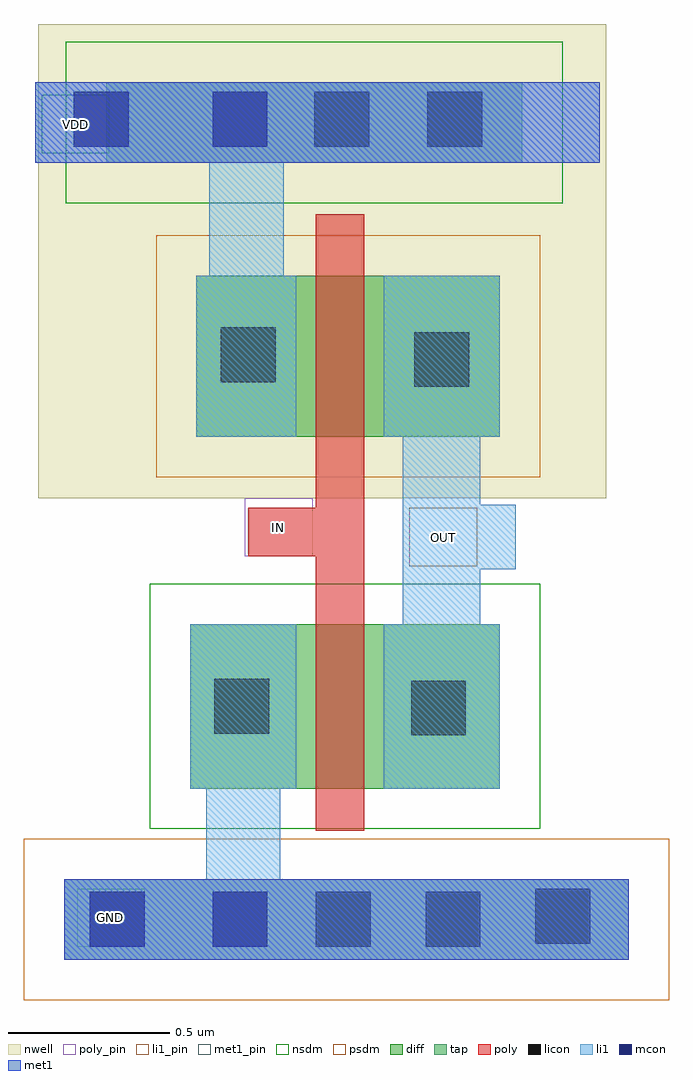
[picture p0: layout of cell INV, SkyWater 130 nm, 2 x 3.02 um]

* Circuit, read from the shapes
.subckt INV GND IN OUT VDD
XM1 OUT IN GND GND sky130_fd_pr__nfet_01v8 w=0.51 l=0.15
XM2 OUT IN VDD VDD sky130_fd_pr__pfet_01v8 w=0.5 l=0.15
.ends

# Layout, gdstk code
import gdstk
lib = gdstk.Library(unit=1e-6, precision=1e-09)
def R(c, l, rs):  # rectangles x0, y0, x1, y1
    for r in rs: c.add(gdstk.rectangle(r[:2], r[2:], *l))
nwell = (64, 20)
diff = (65, 20)
tap = (65, 44)
poly_pin = (66, 16)
poly = (66, 20)
licon = (66, 44)
li1_pin = (67, 16)
li1 = (67, 20)
mcon = (67, 44)
met1_pin = (68, 16)
met1 = (68, 20)
nsdm = (93, 44)
psdm = (94, 20)

inv = lib.new_cell('INV')
R(inv, nwell, [(-0.88,0.52,0.88,1.99)])
R(inv, diff, [(-0.41,-0.38,0.55,0.13), (-0.39,0.71,0.55,1.21)])
R(inv, tap, [(-0.8,-0.91,0.95,-0.66), (-0.67,1.56,0.62,1.81)])
R(inv, poly_pin, [(-0.24,0.34,-0.03,0.52)])
R(inv, poly, [(-0.02,-0.51,0.13,0.34), (-0.23,0.34,0.13,0.49), (-0.02,0.49,0.13,1.4)])
R(inv, licon, [(-0.02,-0.87,0.15,-0.7), (0.32,-0.87,0.49,-0.7), (0.66,-0.86,0.83,-0.69), (0.275,-0.215,0.445,-0.045), (-0.335,-0.21,-0.165,-0.04), (0.285,0.865,0.455,1.035), (-0.315,0.88,-0.145,1.05), (-0.025,1.61,0.145,1.78), (0.325,1.61,0.495,1.78)])
R(inv, li1_pin, [(0.27,0.31,0.48,0.49)])
R(inv, li1, [(-0.8,-0.91,0.95,-0.66), (-0.36,-0.66,-0.13,-0.38), (-0.41,-0.38,-0.08,0.13), (0.19,-0.38,0.55,0.13), (0.25,0.13,0.49,0.3), (0.25,0.3,0.6,0.5), (0.25,0.5,0.49,0.71), (-0.39,0.71,-0.08,1.21), (0.19,0.71,0.55,1.21), (-0.35,1.21,-0.12,1.56), (-0.89,1.56,0.86,1.81)])
R(inv, mcon, [(-0.72,-0.87,-0.55,-0.7), (-0.34,-0.87,-0.17,-0.7), (-0.77,1.61,-0.6,1.78), (-0.34,1.61,-0.17,1.78)])
R(inv, met1_pin, [(-0.76,-0.87,-0.55,-0.69), (-0.87,1.59,-0.66,1.77)])
R(inv, met1, [(-0.8,-0.91,0.95,-0.66), (-0.89,1.56,0.86,1.81)])
R(inv, nsdm, [(-0.535,-0.505,0.675,0.255), (-0.795,1.435,0.745,1.935)])
R(inv, psdm, [(-0.925,-1.035,1.075,-0.535), (-0.515,0.585,0.675,1.335)])
inv.add(gdstk.Label('VDD', (-0.765,1.68), layer=68, texttype=16))
inv.add(gdstk.Label('GND', (-0.655,-0.78), layer=68, texttype=16))
inv.add(gdstk.Label('IN', (-0.135,0.43), layer=66, texttype=16))
inv.add(gdstk.Label('OUT', (0.375,0.4), layer=67, texttype=16))

lib.write_gds('INV.gds')
